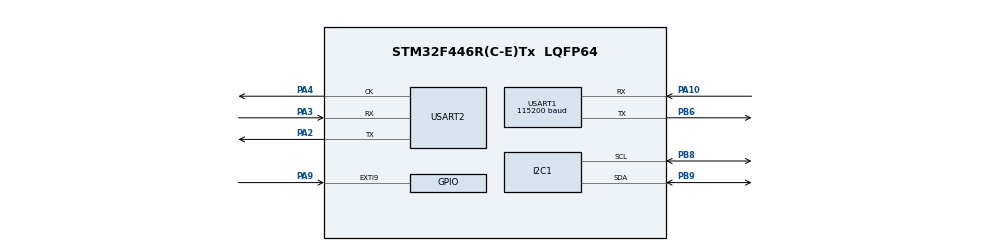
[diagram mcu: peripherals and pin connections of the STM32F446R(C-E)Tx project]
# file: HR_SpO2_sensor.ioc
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I2C1.I2C_Mode=I2C_Fast
Mcu.Family=STM32F4
Mcu.Name=STM32F446R(C-E)Tx
Mcu.Package=LQFP64
NVIC.EXTI9_5_IRQn=true\:0\:0\:false\:false\:true\:true\:true\:true
NVIC.PriorityGroup=NVIC_PRIORITYGROUP_4
NVIC.TIM2_IRQn=true\:0\:0\:false\:false\:true\:true\:true\:true
NVIC.TIM3_IRQn=true\:0\:0\:false\:false\:true\:true\:true\:true
NVIC.USART1_IRQn=true\:0\:0\:false\:false\:true\:true\:true\:true
PA10.Mode=Asynchronous
PA10.Signal=USART1_RX
PA2.Mode=Synchronous
PA2.Signal=USART2_TX
PA3.Mode=Synchronous
PA3.Signal=USART2_RX
PA4.Mode=Synchronous
PA4.Signal=USART2_CK
PA9.GPIO_ModeDefaultEXTI=GPIO_MODE_IT_FALLING
PA9.Signal=GPXTI9
PB6.Mode=Asynchronous
PB6.Signal=USART1_TX
PB8.GPIO_Pu=GPIO_NOPULL
PB8.GPIO_Speed=GPIO_SPEED_FREQ_VERY_HIGH
PB8.Mode=I2C
PB8.Signal=I2C1_SCL
PB9.GPIO_Pu=GPIO_NOPULL
PB9.Mode=I2C
PB9.Signal=I2C1_SDA
ProjectManager.HeapSize=0x200
ProjectManager.StackSize=0x400
ProjectManager.TargetToolchain=STM32CubeIDE
RCC.CortexFreq_Value=16000000
RCC.USBFreq_Value=96000000
RCC.VCOOutputFreq_Value=192000000
TIM2.AutoReloadPreload=TIM_AUTORELOAD_PRELOAD_ENABLE
TIM2.Period=15000
TIM2.Prescaler=16000
TIM3.AutoReloadPreload=TIM_AUTORELOAD_PRELOAD_ENABLE
TIM3.CounterMode=TIM_COUNTERMODE_UP
TIM3.Period=30000
TIM3.Prescaler=16000
USART1.BaudRate=115200
USART1.VirtualMode=VM_ASYNC
USART2.VirtualMode=VM_SYNC
VP_TIM2_VS_ClockSourceINT.Mode=Internal
VP_TIM3_VS_ClockSourceINT.Mode=Internal
board=custom

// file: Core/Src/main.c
/* USER CODE BEGIN Header */
/**
  ******************************************************************************
  * @file           : main.c
  * @brief          : Main program body
  ******************************************************************************
  * @attention
  *
  * Copyright (c) 2022 STMicroelectronics.
  * All rights reserved.
  *
  * This software is licensed under terms that can be found in the LICENSE file
  * in the root directory of this software component.
  * If no LICENSE file comes with this software, it is provided AS-IS.
  *
  ******************************************************************************
  */
/* USER CODE END Header */
#include "main.h"

/* USER CODE BEGIN Includes */
#include "max30100.h"
#include <stdio.h>
#include <string.h>
/* USER CODE END Includes */

 I2C_HandleTypeDef hi2c1;

TIM_HandleTypeDef htim2;
TIM_HandleTypeDef htim3;

UART_HandleTypeDef huart1;
USART_HandleTypeDef husart2;

/* USER CODE BEGIN PV */
static uint8_t rx_data;
/* USER CODE END PV */

void SystemClock_Config(void);
static void MX_GPIO_Init(void);
static void MX_I2C1_Init(void);
static void MX_USART2_Init(void);
static void MX_TIM2_Init(void);
static void MX_TIM3_Init(void);
static void MX_USART1_UART_Init(void);

/* USER CODE BEGIN 0 */
void hal_status_assert(HAL_StatusTypeDef status, size_t line)
{
	if (status != HAL_OK)
	{
		char buffer[128];
		size_t bytes = snprintf(buffer, sizeof(buffer), "HAL_NOT_OK - %d at %u\n", status, line);
		(void)HAL_UART_Transmit(&huart1, (uint8_t *)buffer, bytes, 1);
		while (1)
		{}
	}
}

void HAL_TIM_PeriodElapsedCallback(TIM_HandleTypeDef *htim)
{
    if (htim == &htim2)
    {
        MAX30100_Measurement_Complete();
    }
    else if (htim == &htim3)
    {
        static bool first_callback = true;
        if (first_callback)
        {
            /* Ignore first callback */
            first_callback = false;
        }
        else
        {
            MAX30100_HR_SpO2_Send();
        }
    }
}

void HAL_UART_RxCpltCallback(UART_HandleTypeDef *huart)
{
    if (huart == &huart1)
    {
        HAL_UART_Receive_IT(huart, &rx_data, 1);
        if (rx_data == 'R')
        {
            MAX30100_HR_SpO2_Send();
        }
    }
}
/* USER CODE END 0 */

int main(void)
{

  /* MCU Configuration--------------------------------------------------------*/

  /* Reset of all peripherals, Initializes the Flash interface and the Systick. */
  HAL_Init();

  /* Configure the system clock */
  SystemClock_Config();

  /* Initialize all configured peripherals */
  MX_GPIO_Init();
  MX_I2C1_Init();
  MX_USART2_Init();
  MX_TIM2_Init();
  MX_TIM3_Init();
  MX_USART1_UART_Init();
  /* USER CODE BEGIN 2 */
  uint16_t ir;
  uint16_t red;

  MAX30100_Init(&hi2c1, &huart1);
  HAL_TIM_Base_Start_IT(&htim2);
  HAL_TIM_Base_Start_IT(&htim3);
  MAX30100_Default_Config();

  HAL_UART_Receive_IT(&huart1, &rx_data, 1);
  /* USER CODE END 2 */

  /* Infinite loop */
  /* USER CODE BEGIN WHILE */
  while (1)
  {
    if (MAX30100_Data_Get(&ir, &red))
    {
      MAX30100_Sample_Add(ir, red);
    }
    /* USER CODE END WHILE */

  }
}

void SystemClock_Config(void)
{
  RCC_OscInitTypeDef RCC_OscInitStruct = {0};
  RCC_ClkInitTypeDef RCC_ClkInitStruct = {0};

  /** Configure the main internal regulator output voltage
  */
  __HAL_RCC_PWR_CLK_ENABLE();
  __HAL_PWR_VOLTAGESCALING_CONFIG(PWR_REGULATOR_VOLTAGE_SCALE3);

  /** Initializes the RCC Oscillators according to the specified parameters
  * in the RCC_OscInitTypeDef structure.
  */
  RCC_OscInitStruct.OscillatorType = RCC_OSCILLATORTYPE_HSI;
  RCC_OscInitStruct.HSIState = RCC_HSI_ON;
  RCC_OscInitStruct.HSICalibrationValue = RCC_HSICALIBRATION_DEFAULT;
  RCC_OscInitStruct.PLL.PLLState = RCC_PLL_NONE;
  if (HAL_RCC_OscConfig(&RCC_OscInitStruct) != HAL_OK)
  {
    Error_Handler();
  }

  /** Initializes the CPU, AHB and APB buses clocks
  */
  RCC_ClkInitStruct.ClockType = RCC_CLOCKTYPE_HCLK|RCC_CLOCKTYPE_SYSCLK
                              |RCC_CLOCKTYPE_PCLK1|RCC_CLOCKTYPE_PCLK2;
  RCC_ClkInitStruct.SYSCLKSource = RCC_SYSCLKSOURCE_HSI;
  RCC_ClkInitStruct.AHBCLKDivider = RCC_SYSCLK_DIV1;
  RCC_ClkInitStruct.APB1CLKDivider = RCC_HCLK_DIV1;
  RCC_ClkInitStruct.APB2CLKDivider = RCC_HCLK_DIV1;

  if (HAL_RCC_ClockConfig(&RCC_ClkInitStruct, FLASH_LATENCY_0) != HAL_OK)
  {
    Error_Handler();
  }
}

static void MX_I2C1_Init(void)
{

  hi2c1.Instance = I2C1;
  hi2c1.Init.ClockSpeed = 400000;
  hi2c1.Init.DutyCycle = I2C_DUTYCYCLE_2;
  hi2c1.Init.OwnAddress1 = 0;
  hi2c1.Init.AddressingMode = I2C_ADDRESSINGMODE_7BIT;
  hi2c1.Init.DualAddressMode = I2C_DUALADDRESS_DISABLE;
  hi2c1.Init.OwnAddress2 = 0;
  hi2c1.Init.GeneralCallMode = I2C_GENERALCALL_DISABLE;
  hi2c1.Init.NoStretchMode = I2C_NOSTRETCH_DISABLE;
  if (HAL_I2C_Init(&hi2c1) != HAL_OK)
  {
    Error_Handler();
  }

}

static void MX_TIM2_Init(void)
{

  TIM_ClockConfigTypeDef sClockSourceConfig = {0};
  TIM_MasterConfigTypeDef sMasterConfig = {0};

  htim2.Instance = TIM2;
  htim2.Init.Prescaler = 16000;
  htim2.Init.CounterMode = TIM_COUNTERMODE_UP;
  htim2.Init.Period = 15000;
  htim2.Init.ClockDivision = TIM_CLOCKDIVISION_DIV1;
  htim2.Init.AutoReloadPreload = TIM_AUTORELOAD_PRELOAD_ENABLE;
  if (HAL_TIM_Base_Init(&htim2) != HAL_OK)
  {
    Error_Handler();
  }
  sClockSourceConfig.ClockSource = TIM_CLOCKSOURCE_INTERNAL;
  if (HAL_TIM_ConfigClockSource(&htim2, &sClockSourceConfig) != HAL_OK)
  {
    Error_Handler();
  }
  sMasterConfig.MasterOutputTrigger = TIM_TRGO_RESET;
  sMasterConfig.MasterSlaveMode = TIM_MASTERSLAVEMODE_DISABLE;
  if (HAL_TIMEx_MasterConfigSynchronization(&htim2, &sMasterConfig) != HAL_OK)
  {
    Error_Handler();
  }

}

static void MX_TIM3_Init(void)
{

  TIM_ClockConfigTypeDef sClockSourceConfig = {0};
  TIM_MasterConfigTypeDef sMasterConfig = {0};

  htim3.Instance = TIM3;
  htim3.Init.Prescaler = 16000;
  htim3.Init.CounterMode = TIM_COUNTERMODE_UP;
  htim3.Init.Period = 30000;
  htim3.Init.ClockDivision = TIM_CLOCKDIVISION_DIV1;
  htim3.Init.AutoReloadPreload = TIM_AUTORELOAD_PRELOAD_ENABLE;
  if (HAL_TIM_Base_Init(&htim3) != HAL_OK)
  {
    Error_Handler();
  }
  sClockSourceConfig.ClockSource = TIM_CLOCKSOURCE_INTERNAL;
  if (HAL_TIM_ConfigClockSource(&htim3, &sClockSourceConfig) != HAL_OK)
  {
    Error_Handler();
  }
  sMasterConfig.MasterOutputTrigger = TIM_TRGO_RESET;
  sMasterConfig.MasterSlaveMode = TIM_MASTERSLAVEMODE_DISABLE;
  if (HAL_TIMEx_MasterConfigSynchronization(&htim3, &sMasterConfig) != HAL_OK)
  {
    Error_Handler();
  }

}

static void MX_USART1_UART_Init(void)
{

  huart1.Instance = USART1;
  huart1.Init.BaudRate = 115200;
  huart1.Init.WordLength = UART_WORDLENGTH_8B;
  huart1.Init.StopBits = UART_STOPBITS_1;
  huart1.Init.Parity = UART_PARITY_NONE;
  huart1.Init.Mode = UART_MODE_TX_RX;
  huart1.Init.HwFlowCtl = UART_HWCONTROL_NONE;
  huart1.Init.OverSampling = UART_OVERSAMPLING_16;
  if (HAL_UART_Init(&huart1) != HAL_OK)
  {
    Error_Handler();
  }

}

static void MX_USART2_Init(void)
{

  husart2.Instance = USART2;
  husart2.Init.BaudRate = 115200;
  husart2.Init.WordLength = USART_WORDLENGTH_8B;
  husart2.Init.StopBits = USART_STOPBITS_1;
  husart2.Init.Parity = USART_PARITY_NONE;
  husart2.Init.Mode = USART_MODE_TX_RX;
  husart2.Init.CLKPolarity = USART_POLARITY_LOW;
  husart2.Init.CLKPhase = USART_PHASE_1EDGE;
  husart2.Init.CLKLastBit = USART_LASTBIT_DISABLE;
  if (HAL_USART_Init(&husart2) != HAL_OK)
  {
    Error_Handler();
  }

}

static void MX_GPIO_Init(void)
{
  GPIO_InitTypeDef GPIO_InitStruct = {0};

  /* GPIO Ports Clock Enable */
  __HAL_RCC_GPIOA_CLK_ENABLE();
  __HAL_RCC_GPIOB_CLK_ENABLE();

  /*Configure GPIO pin : PA9 */
  GPIO_InitStruct.Pin = GPIO_PIN_9;
  GPIO_InitStruct.Mode = GPIO_MODE_IT_FALLING;
  GPIO_InitStruct.Pull = GPIO_NOPULL;
  HAL_GPIO_Init(GPIOA, &GPIO_InitStruct);

  /* EXTI interrupt init*/
  HAL_NVIC_SetPriority(EXTI9_5_IRQn, 0, 0);
  HAL_NVIC_EnableIRQ(EXTI9_5_IRQn);

}

void Error_Handler(void)
{
  __disable_irq();
  while (1)
  {
  }
}
